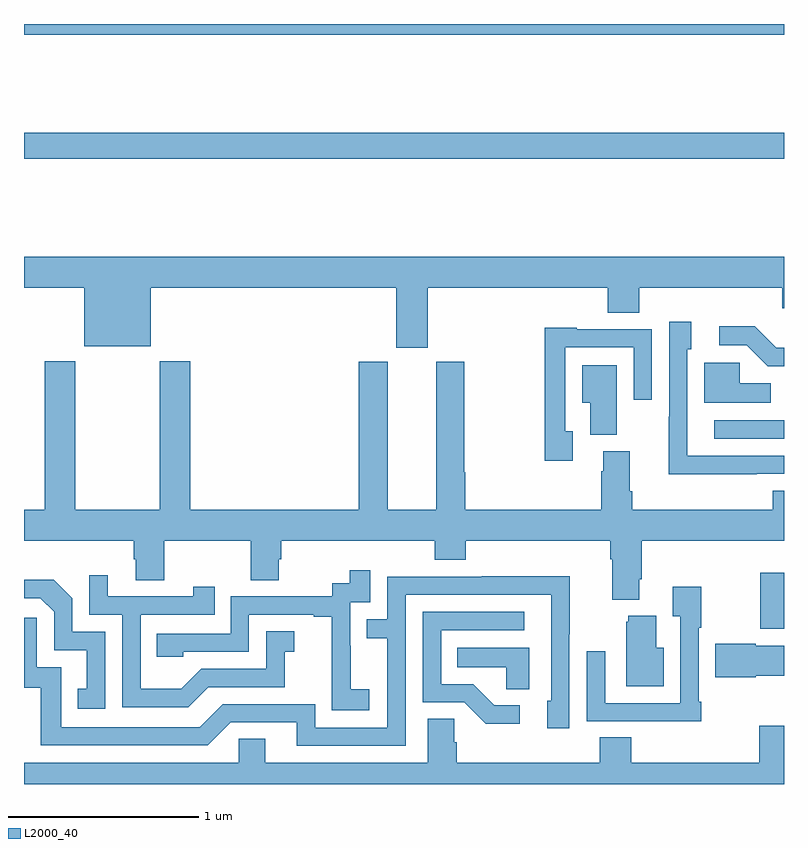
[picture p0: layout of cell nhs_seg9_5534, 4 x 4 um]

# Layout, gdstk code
import gdstk
lib = gdstk.Library(unit=1e-6, precision=1e-09)
def R(c, l, rs):  # rectangles x0, y0, x1, y1
    for r in rs: c.add(gdstk.rectangle(r[:2], r[2:], *l))
def P(c, l, *ps):  # polygons
    for p in ps: c.add(gdstk.Polygon(p, *l))
L2000_40 = (2000, 40)

nhs_seg9_5534 = lib.new_cell('nhs_seg9_5534')
R(nhs_seg9_5534, L2000_40, [(436.876,1169.316,437,1169.611), (436.632,1170.318,437,1170.414), (433,1171.792,437,1171.928), (433,1172.444,437,1172.5)])
P(nhs_seg9_5534, L2000_40, [(435.124,1171.112),(436.073,1171.112),(436.073,1170.979),(436.238,1170.979),(436.238,1171.112),(436.991,1171.112),(436.991,1171.003),(437,1171.003),(437,1171.276),(433,1171.276),(433,1171.112),(433.316,1171.112),(433.316,1170.803),(433.666,1170.803),(433.666,1171.112),(434.96,1171.112),(434.96,1170.795),(435.124,1170.795)],
  [(436.856,1170.132),(437,1170.132),(437,1170.228),(436.491,1170.228),(436.491,1170.789),(436.513,1170.789),(436.513,1170.934),(436.395,1170.934),(436.395,1170.434),(436.394,1170.434),(436.394,1170.131),(436.856,1170.131)],
  [(437,1170.795),(436.959,1170.795),(436.846,1170.908),(436.659,1170.908),(436.659,1170.81),(436.803,1170.81),(436.914,1170.699),(437,1170.699)],
  [(435.889,1170.357),(435.849,1170.357),(435.849,1170.798),(436.209,1170.798),(436.209,1170.522),(436.305,1170.522),(436.305,1170.894),(435.909,1170.894),(435.909,1170.901),(435.741,1170.901),(435.741,1170.201),(435.889,1170.201)],
  [(436.237,1169.578),(436.25,1169.578),(436.25,1169.78),(437,1169.78),(437,1170.043),(436.94,1170.043),(436.94,1169.944),(436.202,1169.944),(436.202,1170.04),(436.189,1170.04),(436.189,1170.252),(436.049,1170.252),(436.049,1170.146),(436.037,1170.146),(436.037,1169.944),(435.323,1169.944),(435.323,1170.14),(435.318,1170.14),(435.318,1170.723),(435.17,1170.723),(435.17,1169.944),(434.914,1169.944),(434.914,1170.723),(434.762,1170.723),(434.762,1169.944),(433.874,1169.944),(433.874,1170.724),(433.714,1170.724),(433.714,1169.944),(433.269,1169.944),(433.269,1170.724),(433.109,1170.724),(433.109,1169.944),(433,1169.944),(433,1169.78),(433.577,1169.78),(433.577,1169.682),(433.589,1169.682),(433.589,1169.572),(433.737,1169.572),(433.737,1169.78),(434.194,1169.78),(434.194,1169.572),(434.341,1169.572),(434.341,1169.682),(434.354,1169.682),(434.354,1169.78),(435.161,1169.78),(435.161,1169.681),(435.326,1169.681),(435.326,1169.78),(436.085,1169.78),(436.085,1169.684),(436.097,1169.684),(436.097,1169.471),(436.237,1169.471)],
  [(436.93,1170.61),(436.767,1170.61),(436.767,1170.717),(436.58,1170.717),(436.58,1170.506),(436.93,1170.506)],
  [(436.12,1170.703),(435.938,1170.703),(435.938,1170.506),(435.98,1170.506),(435.98,1170.337),(436.12,1170.337)],
  [(434.818,1168.999),(434.72,1168.999),(434.72,1169.228),(434.718,1169.228),(434.718,1169.457),(434.823,1169.457),(434.823,1169.626),(434.715,1169.626),(434.715,1169.556),(434.622,1169.556),(434.622,1169.487),(434.088,1169.487),(434.088,1169.292),(433.699,1169.292),(433.699,1169.169),(433.839,1169.169),(433.839,1169.196),(434.184,1169.196),(434.184,1169.391),(434.525,1169.391),(434.525,1169.379),(434.621,1169.379),(434.621,1169.095),(434.62,1169.095),(434.62,1168.889),(434.818,1168.889)],
  [(433.969,1169.01),(434.373,1169.01),(434.373,1169.195),(434.422,1169.195),(434.422,1169.305),(434.274,1169.305),(434.274,1169.106),(433.932,1169.106),(433.828,1169.002),(433.614,1169.002),(433.614,1169.391),(434.003,1169.391),(434.003,1169.539),(433.892,1169.539),(433.892,1169.487),(433.441,1169.487),(433.441,1169.599),(433.344,1169.599),(433.344,1169.391),(433.518,1169.391),(433.518,1168.905),(433.864,1168.905)],
  [(435.009,1169.496),(435.774,1169.496),(435.774,1168.938),(435.755,1168.938),(435.755,1168.794),(435.87,1168.794),(435.87,1169.287),(435.873,1169.287),(435.873,1169.594),(435.409,1169.594),(435.409,1169.592),(434.913,1169.592),(434.913,1169.367),(434.803,1169.367),(434.803,1169.266),(434.913,1169.266),(434.913,1168.797),(434.532,1168.797),(434.532,1168.92),(434.046,1168.92),(433.926,1168.8),(433.197,1168.8),(433.197,1169.115),(433.068,1169.115),(433.068,1169.374),(433,1169.374),(433,1169.007),(433.089,1169.007),(433.089,1168.704),(433.968,1168.704),(434.088,1168.824),(434.435,1168.824),(434.435,1168.701),(435.009,1168.701)],
  [(433.428,1169.301),(433.254,1169.301),(433.254,1169.478),(433.156,1169.576),(433,1169.576),(433,1169.478),(433.086,1169.478),(433.158,1169.406),(433.158,1169.205),(433.331,1169.205),(433.331,1169.001),(433.282,1169.001),(433.282,1168.896),(433.428,1168.896)],
  [(436.564,1168.933),(436.551,1168.933),(436.551,1169.323),(436.564,1169.323),(436.564,1169.539),(436.415,1169.539),(436.415,1169.383),(436.455,1169.383),(436.455,1168.926),(436.059,1168.926),(436.059,1169.2),(435.963,1169.2),(435.963,1168.83),(436.279,1168.83),(436.279,1168.829),(436.564,1168.829)],
  [(435.61,1168.914),(435.475,1168.914),(435.364,1169.025),(435.195,1169.025),(435.195,1169.31),(435.634,1169.31),(435.634,1169.406),(435.099,1169.406),(435.099,1168.929),(435.318,1168.929),(435.431,1168.817),(435.61,1168.817)],
  [(436.366,1169.218),(436.327,1169.218),(436.327,1169.386),(436.181,1169.386),(436.181,1169.355),(436.169,1169.355),(436.169,1169.015),(436.366,1169.015)],
  [(436.851,1169.069),(437,1169.069),(437,1169.227),(436.851,1169.227),(436.851,1169.239),(436.638,1169.239),(436.638,1169.062),(436.851,1169.062)],
  [(435.658,1169.218),(435.28,1169.218),(435.28,1169.114),(435.537,1169.114),(435.537,1168.999),(435.658,1168.999)],
  [(437,1168.807),(436.871,1168.807),(436.871,1168.612),(436.196,1168.612),(436.196,1168.745),(436.031,1168.745),(436.031,1168.612),(435.278,1168.612),(435.278,1168.721),(435.264,1168.721),(435.264,1168.844),(435.125,1168.844),(435.125,1168.612),(434.269,1168.612),(434.269,1168.739),(434.13,1168.739),(434.13,1168.612),(433,1168.612),(433,1168.5),(437,1168.5)])

lib.write_gds('nhs_seg9_5534.gds')
